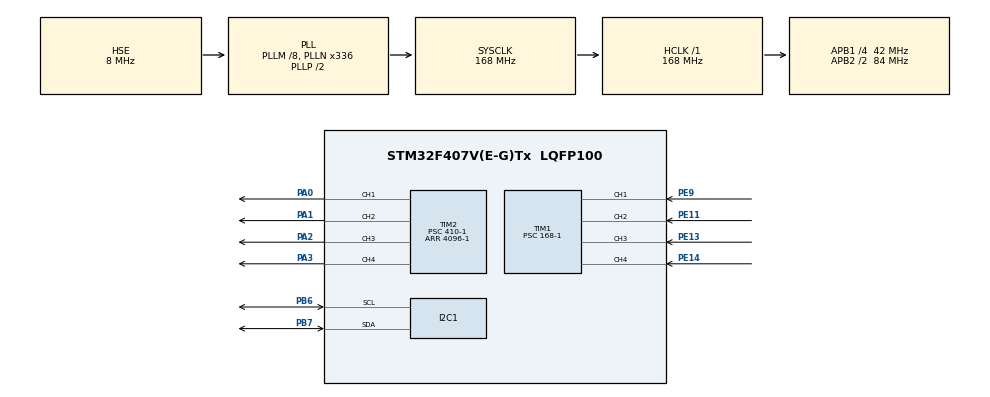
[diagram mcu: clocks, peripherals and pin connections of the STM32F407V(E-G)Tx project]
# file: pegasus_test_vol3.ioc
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I2C1.I2C_Mode=I2C_Fast
Mcu.Family=STM32F4
Mcu.Name=STM32F407V(E-G)Tx
Mcu.Package=LQFP100
NVIC.PriorityGroup=NVIC_PRIORITYGROUP_0
NVIC.TIM1_CC_IRQn=true\:0\:0\:false\:false\:true\:true\:true\:true
PA0-WKUP.Signal=S_TIM2_CH1_ETR
PA1.Signal=S_TIM2_CH2
PA13.Mode=Serial_Wire
PA13.Signal=SYS_JTMS-SWDIO
PA14.Mode=Serial_Wire
PA14.Signal=SYS_JTCK-SWCLK
PA2.Signal=S_TIM2_CH3
PA3.Signal=S_TIM2_CH4
PB6.Mode=I2C
PB6.Signal=I2C1_SCL
PB7.Mode=I2C
PB7.Signal=I2C1_SDA
PE11.Signal=S_TIM1_CH2
PE13.Signal=S_TIM1_CH3
PE14.Signal=S_TIM1_CH4
PE9.Signal=S_TIM1_CH1
PH0-OSC_IN.Mode=HSE-External-Oscillator
PH0-OSC_IN.Signal=RCC_OSC_IN
PH1-OSC_OUT.Mode=HSE-External-Oscillator
PH1-OSC_OUT.Signal=RCC_OSC_OUT
ProjectManager.HeapSize=0x200
ProjectManager.StackSize=0x400
ProjectManager.TargetToolchain=STM32CubeIDE
RCC.48MHZClocksFreq_Value=48000000
RCC.AHBFreq_Value=168000000
RCC.APB1CLKDivider=RCC_HCLK_DIV4
RCC.APB1Freq_Value=42000000
RCC.APB1TimFreq_Value=84000000
RCC.APB2CLKDivider=RCC_HCLK_DIV2
RCC.APB2Freq_Value=84000000
RCC.APB2TimFreq_Value=168000000
RCC.CortexFreq_Value=168000000
RCC.HCLKFreq_Value=168000000
RCC.HSE_VALUE=8000000
RCC.HSI_VALUE=16000000
RCC.PLLM=8
RCC.PLLN=336
RCC.PLLQ=7
RCC.PLLSourceVirtual=RCC_PLLSOURCE_HSE
RCC.SYSCLKFreq_VALUE=168000000
RCC.SYSCLKSource=RCC_SYSCLKSOURCE_PLLCLK
RCC.VCOOutputFreq_Value=336000000
SH.S_TIM1_CH1.0=TIM1_CH1,Input_Capture1_from_TI1
SH.S_TIM1_CH2.0=TIM1_CH2,Input_Capture2_from_TI2
SH.S_TIM1_CH3.0=TIM1_CH3,Input_Capture3_from_TI3
SH.S_TIM1_CH4.0=TIM1_CH4,Input_Capture4_from_TI4
SH.S_TIM2_CH1_ETR.0=TIM2_CH1,PWM Generation1 CH1
SH.S_TIM2_CH2.0=TIM2_CH2,PWM Generation2 CH2
SH.S_TIM2_CH3.0=TIM2_CH3,PWM Generation3 CH3
SH.S_TIM2_CH4.0=TIM2_CH4,PWM Generation4 CH4
TIM1.AutoReloadPreload=TIM_AUTORELOAD_PRELOAD_ENABLE
TIM1.Channel-Input_Capture1_from_TI1=TIM_CHANNEL_1
TIM1.Channel-Input_Capture2_from_TI2=TIM_CHANNEL_2
TIM1.Channel-Input_Capture3_from_TI3=TIM_CHANNEL_3
TIM1.Channel-Input_Capture4_from_TI4=TIM_CHANNEL_4
TIM1.Prescaler=168-1
TIM2.AutoReloadPreload=TIM_AUTORELOAD_PRELOAD_ENABLE
TIM2.Channel-PWM\ Generation1\ CH1=TIM_CHANNEL_1
TIM2.Channel-PWM\ Generation2\ CH2=TIM_CHANNEL_2
TIM2.Channel-PWM\ Generation3\ CH3=TIM_CHANNEL_3
TIM2.Channel-PWM\ Generation4\ CH4=TIM_CHANNEL_4
TIM2.Period=4096-1
TIM2.Prescaler=410-1
VP_TIM1_VS_ClockSourceINT.Mode=Internal
VP_TIM2_VS_ClockSourceINT.Mode=Internal
board=STM32F407G-DISC1

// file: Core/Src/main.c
#include "main.h"
#include <stdio.h>
#include <string.h>
#include <stdlib.h>
#include <math.h>
#include <stdbool.h>
/* USER CODE BEGIN Includes */
#define MPU6050_ADDR 0x68<<1
#define PWR_MGMT_1_REG 0x6B
#define SMPLRT_DIV_REG 0x19
#define GYRO_CNFG_REG 0x1B
#define ACC_CNFG_REG 0x1C
#define LPF_REG 0x1A
#define KP_roll 0.5
#define KI_roll 0.001
#define KD_roll 500
#define KP_pitch 0.5
#define KI_pitch 0.001
#define KD_pitch 500
#define KP_yaw 0.5
#define KI_yaw 0.001
#define KD_yaw 500
/* USER CODE END Includes */

I2C_HandleTypeDef hi2c1;

TIM_HandleTypeDef htim1;
TIM_HandleTypeDef htim2;

/* USER CODE BEGIN PV */
uint8_t data;
uint8_t buffer[2],tuffer[6],cuffer[6]; // ham gyro ve acc değerlerinin tutulduğu listeler
int16_t gyro_raw[3],acc_raw[3];        // anlamlandırılmış ham değerler
float gyro_cal[3],acc_cal[3]; // kalibrasyon offsetlerini tutan liste
int16_t acc_total_vector;
float angle_pitch_gyro, angle_roll_gyro, angle_yaw_gyro;
float angle_pitch_acc, angle_roll_acc, angle_yaw_acc, angle_pitch_acc_sum, angle_roll_acc_sum, angle_yaw_acc_sum, acc_total_vector_sum;
float angle_pitch,angle_roll, angle_yaw;
int16_t raw_temp;
float temp;
int i;
float prevtime,prevtime1,time1,elapsedtime1,prevtime2,time2,elapsedtime2;
HAL_StatusTypeDef set_gyro;
double roll_pid_d, roll_pid_i, roll_last_error, roll_control_signal;
double pitch_pid_d, pitch_pid_i, pitch_last_error, pitch_control_signal;
double yaw_pid_d, yaw_pid_i, yaw_last_error, yaw_control_signal;
int32_t throttle=0;
int32_t motpower1=0, motpower2=0, motpower3=0, motpower4=0;
/* USER CODE END PV */
int32_t prewYaw=0, prewRoll=0, prewPitch=0;
volatile uint32_t ch1_rising = 0, ch2_rising = 0, ch3_rising = 0, ch4_rising = 0;
volatile uint32_t ch1_falling = 0, ch2_falling = 0, ch3_falling = 0, ch4_falling = 0;
volatile uint32_t pre_ch1 = 0, ch1 = 0, pre_ch2 = 0, ch2 = 0, pre_ch3 = 0, ch3 = 0, pre_ch4 = 0, ch4 = 0;
void SystemClock_Config(void);
static void MX_GPIO_Init(void);
static void MX_I2C1_Init(void);
static void MX_TIM1_Init(void);
static void MX_TIM2_Init(void);
void calculateMotorPowers(double PrRoll, double PrPitch, double PrYaw);
double getControlSignal(double error, double kp, double ki, double kd, double pid_d, double pid_i, double last_error, float delta_time);
void calibrationofmot();
void HAL_TIM_IC_CaptureCallback(TIM_HandleTypeDef *htim)
{
	if(htim->Instance == TIM1)  // interrupt TIM1 biriminden geliyorsa gir
	{
		switch(htim->Channel) // aktif kanal hamgisiyse, o kanalın case'ine git
		{
		case HAL_TIM_ACTIVE_CHANNEL_1:
			if((TIM1->CCER & TIM_CCER_CC1P)==0) // kanalin aktif olmasi kesmenin oradan gelecegi anlamina gelmez/gpio pinini kontrol et
			{
				ch1_rising = TIM1->CCR1; // yukselen kenar degerini kaydet
				TIM1->CCER |= TIM_CCER_CC1P; // polariteyi düsen kenar olarak degistir
			}

			else
			{
				ch1_falling = TIM1->CCR1;
				pre_ch1 = ch1_falling - ch1_rising; // dusen kenar degerini kaydet ve yukselen kenar degerinden cikar
				if(pre_ch1 < 0)pre_ch1 += 0xFFFF;// eger sonuc negatifse taban tumleme yap
				if(pre_ch1 < 2010 && pre_ch1 > 990)ch1=pre_ch1;
				TIM1->CCER &= ~TIM_CCER_CC1P; // polariteyi yukselen kenar olarak ayarla

				/*
				 * ch1_rising 65000
				 * ch1 falling 570
				 * pre_ch1 = pre_ch1 falling - pre_ch1_rising = 570 - 65000 = -64430
				 * pre_ch1 +=0xFFFF(65536) --> 1106
				 */
			}
			break;
		case HAL_TIM_ACTIVE_CHANNEL_2:
			if((TIM1->CCER & TIM_CCER_CC2P)==0)
			{
				ch2_rising = TIM1->CCR2;
				TIM1->CCER |= TIM_CCER_CC2P;
			}
			else
			{
				ch2_falling = TIM1->CCR2;
				pre_ch2 = ch2_falling - ch2_rising;
				if(pre_ch2 < 0)pre_ch2 += 0xFFFF;
				if(pre_ch2 < 2010 && pre_ch2 > 990)ch2=pre_ch2;
				TIM1->CCER &= ~TIM_CCER_CC2P;
			}
			break;
		case HAL_TIM_ACTIVE_CHANNEL_3:
			if((TIM1->CCER & TIM_CCER_CC3P)==0)
			{
				ch3_rising = TIM1->CCR3;
				TIM1->CCER |= TIM_CCER_CC3P;
			}
			else
			{
				ch3_falling = TIM1->CCR3;
				pre_ch3 = ch3_falling - ch3_rising;
				if(pre_ch3 < 0)pre_ch3 += 0xFFFF;
				if(pre_ch3 < 2010 && pre_ch3 > 990)ch3=pre_ch3;
				TIM1->CCER &= ~TIM_CCER_CC3P;
			}
			break;
		case HAL_TIM_ACTIVE_CHANNEL_4:
			if((TIM1->CCER & TIM_CCER_CC4P)==0)
			{
				ch4_rising = TIM1->CCR4;
				TIM1->CCER |= TIM_CCER_CC4P;
			}
			else
			{
				ch4_falling = TIM1->CCR4;
				pre_ch4 = ch4_falling - ch4_rising;
				if(pre_ch4 < 0)pre_ch4 += 0xFFFF;
				if(pre_ch4 < 2010 && pre_ch4 > 990)ch4=pre_ch4;
				TIM1->CCER &= ~TIM_CCER_CC4P;
			}
			break;
		default:
			break;
		}
	}
}

int main(void)
{

  /* MCU Configuration--------------------------------------------------------*/

  /* Reset of all peripherals, Initializes the Flash interface and the Systick. */
  HAL_Init();

  /* Configure the system clock */
  SystemClock_Config();

  /* Initialize all configured peripherals */
  MX_GPIO_Init();
  MX_I2C1_Init();
  MX_TIM1_Init();
  MX_TIM2_Init();
  HAL_TIM_IC_Start_IT(&htim1, TIM_CHANNEL_1); // TIMX->DIER, CCXIE bitini aktif eder.
  HAL_TIM_IC_Start_IT(&htim1, TIM_CHANNEL_2);
  HAL_TIM_IC_Start_IT(&htim1, TIM_CHANNEL_3);
  HAL_TIM_IC_Start_IT(&htim1, TIM_CHANNEL_4);
  HAL_TIM_PWM_Start(&htim2, TIM_CHANNEL_1);
  HAL_TIM_PWM_Start(&htim2, TIM_CHANNEL_2);
  HAL_TIM_PWM_Start(&htim2, TIM_CHANNEL_3);
  HAL_TIM_PWM_Start(&htim2, TIM_CHANNEL_4);

  /* USER CODE BEGIN 2 */
  data = 0x00;
    HAL_I2C_Mem_Write (&hi2c1, MPU6050_ADDR, PWR_MGMT_1_REG, 1, &data, 1, HAL_MAX_DELAY);
    //kullanılan birimin pointer olarak döndürülmesi, cihaz slave adresi, register adresi, register boyutu, verinin pointer
    //olarak döndürülmesi, verinin boyutu , zaman aşımıı değeri
    // GYRO CNFG --> +-500 derece/saniye --> 08
    data = 0x08;
    HAL_I2C_Mem_Write (&hi2c1, MPU6050_ADDR, GYRO_CNFG_REG, 1, &data, 1, HAL_MAX_DELAY);
    // ACC CNFG --> +-8g --> 10
    data = 0x10;
    HAL_I2C_Mem_Write (&hi2c1, MPU6050_ADDR, ACC_CNFG_REG, 1, &data, 1, HAL_MAX_DELAY);
    data = 0x03;
    HAL_I2C_Mem_Write (&hi2c1, MPU6050_ADDR, LPF_REG, 1, &data, 1, HAL_MAX_DELAY);

    for(i=0; i<2000; i++)
    {
  	  prevtime2 = time2;
  	  time2 = HAL_GetTick();
  	  elapsedtime2=(time2-prevtime2)*1000;

  	  cuffer[0]=0x43;
  	  HAL_I2C_Master_Transmit(&hi2c1,MPU6050_ADDR,cuffer,1,HAL_MAX_DELAY);
  	  HAL_I2C_Master_Receive(&hi2c1,MPU6050_ADDR,cuffer,6,HAL_MAX_DELAY);

  	  gyro_raw[0] = (cuffer[0] << 8 | cuffer[1]);
  	  gyro_raw[1] = (cuffer[2] << 8 | cuffer[3]);
  	  gyro_raw[2] = (cuffer[4] << 8 | cuffer[5]);

  	  gyro_cal[0] += gyro_raw[0];
  	  gyro_cal[1] += gyro_raw[1];
  	  gyro_cal[2] += gyro_raw[2];

  	  HAL_Delay(3);

    }

    gyro_cal[0] /= 2000;
    gyro_cal[1] /= 2000;
    gyro_cal[2] /= 2000;

    HAL_Delay(500);
  /* USER CODE END 2 */
    calibrationofmot();
  /* Infinite loop */
  while (1)
  {
	  int32_t rec[]= {ch1,ch2,ch4};
	  prevtime1 = time1;
	  time1 = HAL_GetTick();
	  elapsedtime1=(time1-prevtime1)*1000;

	  tuffer[0]=0x3B;
	  HAL_I2C_Master_Transmit(&hi2c1,MPU6050_ADDR,tuffer,1,HAL_MAX_DELAY);
	  HAL_I2C_Master_Receive(&hi2c1,MPU6050_ADDR,tuffer,6,HAL_MAX_DELAY);

	  // Acc Raw Values
	  acc_raw[0] = (tuffer[0] << 8 | tuffer[1]);
	  acc_raw[1] = (tuffer[2] << 8 | tuffer[3]);
	  acc_raw[2] = (tuffer[4] << 8 | tuffer[5]);

	  buffer[0]=0x41;
	  HAL_I2C_Master_Transmit(&hi2c1,MPU6050_ADDR,buffer,1,HAL_MAX_DELAY);
	  HAL_I2C_Master_Receive(&hi2c1,MPU6050_ADDR,buffer,2,HAL_MAX_DELAY);

	  // Temperature Values
	  raw_temp = (buffer[0] << 8 | buffer[1]);
	  temp = (raw_temp / 340.0) + 36.53;

	  cuffer[0]=0x43;
	  HAL_I2C_Master_Transmit(&hi2c1,MPU6050_ADDR,cuffer,1,HAL_MAX_DELAY);
	  HAL_I2C_Master_Receive(&hi2c1,MPU6050_ADDR,cuffer,6,HAL_MAX_DELAY);

	  // Gyro Raw Values
	  gyro_raw[0] = (cuffer[0] << 8 | cuffer[1]);
	  gyro_raw[1] = (cuffer[2] << 8 | cuffer[3]);
	  gyro_raw[2] = (cuffer[4] << 8 | cuffer[5]);

	  gyro_raw[0] -= gyro_cal[0];
	  gyro_raw[1] -= gyro_cal[1];
	  gyro_raw[2] -= gyro_cal[2];

	  angle_pitch_gyro += gyro_raw[0] * 0.0000611;
	  angle_roll_gyro += gyro_raw[1] * 0.0000611;
	  angle_yaw_gyro += gyro_raw[2] * 0.0000611;

	  angle_pitch_gyro += angle_roll_gyro * sin(gyro_raw[2] * 0.000001066);
	  angle_roll_gyro -= angle_pitch_gyro * sin(gyro_raw[2] * 0.000001066);
	  angle_yaw_gyro -= angle_yaw_gyro * sin(gyro_raw[1] * 0.000001066);

	  acc_total_vector = sqrt((acc_raw[0]*acc_raw[0])+(acc_raw[1]*acc_raw[1])+(acc_raw[2]*acc_raw[2]));

	  //57.296 = 1 / (3.142 / 180)
	  angle_pitch_acc = asin((float)acc_raw[1]/acc_total_vector)* 57.296;
	  angle_roll_acc = asin((float)acc_raw[0]/acc_total_vector)* -57.296;
	  angle_yaw_acc = asin((float)acc_raw[2]/acc_total_vector)* 57.296;

	  angle_pitch_acc -= 1;//0.05;
	  angle_roll_acc -= -1.32;//-1.32;
	  angle_yaw_acc -= 0;
	  if(set_gyro){
		  angle_pitch = angle_pitch_gyro * 0.9996 + angle_pitch_acc * 0.0004;
		  angle_roll = angle_roll_gyro * 0.9996 + angle_roll_acc * 0.0004;
		  angle_yaw = angle_yaw_gyro * 0.9996 + angle_yaw_acc * 0.0004;
	  }
	  else
	  {
		  angle_pitch = angle_pitch_acc;
		  set_gyro = true;
	  }

	  while((HAL_GetTick() - prevtime)*1000 < 4000);
	  prevtime = HAL_GetTick();
	  throttle = (ch3/4.60);
	  for(int i=0; i<3; i++) {
		  rec[i]= (rec[i]/12.5)-116.8;
		  if(i==1)
			  rec[i]-=4;
	  }
	  prewRoll=-1*rec[0]; prewPitch= -1*rec[1]; prewYaw= rec[2];
	  if(throttle>420)
		  throttle=420;
	  calculateMotorPowers(prewRoll,prewPitch,prewYaw);

	  TIM2->CCR1 = motpower1;
	  TIM2->CCR2 = motpower2;
	  TIM2->CCR3 = motpower3;
	  TIM2->CCR4 = motpower4;

    /*	 USER CODE BEGIN 3 */
  }
  /* USER CODE END 3 */
}

void SystemClock_Config(void)
{
  RCC_OscInitTypeDef RCC_OscInitStruct = {0};
  RCC_ClkInitTypeDef RCC_ClkInitStruct = {0};

  /** Configure the main internal regulator output voltage
  */
  __HAL_RCC_PWR_CLK_ENABLE();
  __HAL_PWR_VOLTAGESCALING_CONFIG(PWR_REGULATOR_VOLTAGE_SCALE1);

  /** Initializes the RCC Oscillators according to the specified parameters
  * in the RCC_OscInitTypeDef structure.
  */
  RCC_OscInitStruct.OscillatorType = RCC_OSCILLATORTYPE_HSE;
  RCC_OscInitStruct.HSEState = RCC_HSE_ON;
  RCC_OscInitStruct.PLL.PLLState = RCC_PLL_ON;
  RCC_OscInitStruct.PLL.PLLSource = RCC_PLLSOURCE_HSE;
  RCC_OscInitStruct.PLL.PLLM = 8;
  RCC_OscInitStruct.PLL.PLLN = 336;
  RCC_OscInitStruct.PLL.PLLP = RCC_PLLP_DIV2;
  RCC_OscInitStruct.PLL.PLLQ = 7;
  if (HAL_RCC_OscConfig(&RCC_OscInitStruct) != HAL_OK)
  {
    Error_Handler();
  }

  /** Initializes the CPU, AHB and APB buses clocks
  */
  RCC_ClkInitStruct.ClockType = RCC_CLOCKTYPE_HCLK|RCC_CLOCKTYPE_SYSCLK
                              |RCC_CLOCKTYPE_PCLK1|RCC_CLOCKTYPE_PCLK2;
  RCC_ClkInitStruct.SYSCLKSource = RCC_SYSCLKSOURCE_PLLCLK;
  RCC_ClkInitStruct.AHBCLKDivider = RCC_SYSCLK_DIV1;
  RCC_ClkInitStruct.APB1CLKDivider = RCC_HCLK_DIV4;
  RCC_ClkInitStruct.APB2CLKDivider = RCC_HCLK_DIV2;

  if (HAL_RCC_ClockConfig(&RCC_ClkInitStruct, FLASH_LATENCY_5) != HAL_OK)
  {
    Error_Handler();
  }
}

static void MX_I2C1_Init(void)
{

  hi2c1.Instance = I2C1;
  hi2c1.Init.ClockSpeed = 400000;
  hi2c1.Init.DutyCycle = I2C_DUTYCYCLE_2;
  hi2c1.Init.OwnAddress1 = 0;
  hi2c1.Init.AddressingMode = I2C_ADDRESSINGMODE_7BIT;
  hi2c1.Init.DualAddressMode = I2C_DUALADDRESS_DISABLE;
  hi2c1.Init.OwnAddress2 = 0;
  hi2c1.Init.GeneralCallMode = I2C_GENERALCALL_DISABLE;
  hi2c1.Init.NoStretchMode = I2C_NOSTRETCH_DISABLE;
  if (HAL_I2C_Init(&hi2c1) != HAL_OK)
  {
    Error_Handler();
  }

}

static void MX_TIM1_Init(void)
{

  TIM_ClockConfigTypeDef sClockSourceConfig = {0};
  TIM_MasterConfigTypeDef sMasterConfig = {0};
  TIM_IC_InitTypeDef sConfigIC = {0};

  htim1.Instance = TIM1;
  htim1.Init.Prescaler = 168-1;
  htim1.Init.CounterMode = TIM_COUNTERMODE_UP;
  htim1.Init.Period = 65535;
  htim1.Init.ClockDivision = TIM_CLOCKDIVISION_DIV1;
  htim1.Init.RepetitionCounter = 0;
  htim1.Init.AutoReloadPreload = TIM_AUTORELOAD_PRELOAD_ENABLE;
  if (HAL_TIM_Base_Init(&htim1) != HAL_OK)
  {
    Error_Handler();
  }
  sClockSourceConfig.ClockSource = TIM_CLOCKSOURCE_INTERNAL;
  if (HAL_TIM_ConfigClockSource(&htim1, &sClockSourceConfig) != HAL_OK)
  {
    Error_Handler();
  }
  if (HAL_TIM_IC_Init(&htim1) != HAL_OK)
  {
    Error_Handler();
  }
  sMasterConfig.MasterOutputTrigger = TIM_TRGO_RESET;
  sMasterConfig.MasterSlaveMode = TIM_MASTERSLAVEMODE_DISABLE;
  if (HAL_TIMEx_MasterConfigSynchronization(&htim1, &sMasterConfig) != HAL_OK)
  {
    Error_Handler();
  }
  sConfigIC.ICPolarity = TIM_INPUTCHANNELPOLARITY_RISING;
  sConfigIC.ICSelection = TIM_ICSELECTION_DIRECTTI;
  sConfigIC.ICPrescaler = TIM_ICPSC_DIV1;
  sConfigIC.ICFilter = 0;
  if (HAL_TIM_IC_ConfigChannel(&htim1, &sConfigIC, TIM_CHANNEL_1) != HAL_OK)
  {
    Error_Handler();
  }
  if (HAL_TIM_IC_ConfigChannel(&htim1, &sConfigIC, TIM_CHANNEL_2) != HAL_OK)
  {
    Error_Handler();
  }
  if (HAL_TIM_IC_ConfigChannel(&htim1, &sConfigIC, TIM_CHANNEL_3) != HAL_OK)
  {
    Error_Handler();
  }
  if (HAL_TIM_IC_ConfigChannel(&htim1, &sConfigIC, TIM_CHANNEL_4) != HAL_OK)
  {
    Error_Handler();
  }

}

static void MX_TIM2_Init(void)
{

  TIM_ClockConfigTypeDef sClockSourceConfig = {0};
  TIM_MasterConfigTypeDef sMasterConfig = {0};
  TIM_OC_InitTypeDef sConfigOC = {0};

  htim2.Instance = TIM2;
  htim2.Init.Prescaler = 410-1;
  htim2.Init.CounterMode = TIM_COUNTERMODE_UP;
  htim2.Init.Period = 4096-1;
  htim2.Init.ClockDivision = TIM_CLOCKDIVISION_DIV1;
  htim2.Init.AutoReloadPreload = TIM_AUTORELOAD_PRELOAD_ENABLE;
  if (HAL_TIM_Base_Init(&htim2) != HAL_OK)
  {
    Error_Handler();
  }
  sClockSourceConfig.ClockSource = TIM_CLOCKSOURCE_INTERNAL;
  if (HAL_TIM_ConfigClockSource(&htim2, &sClockSourceConfig) != HAL_OK)
  {
    Error_Handler();
  }
  if (HAL_TIM_PWM_Init(&htim2) != HAL_OK)
  {
    Error_Handler();
  }
  sMasterConfig.MasterOutputTrigger = TIM_TRGO_RESET;
  sMasterConfig.MasterSlaveMode = TIM_MASTERSLAVEMODE_DISABLE;
  if (HAL_TIMEx_MasterConfigSynchronization(&htim2, &sMasterConfig) != HAL_OK)
  {
    Error_Handler();
  }
  sConfigOC.OCMode = TIM_OCMODE_PWM1;
  sConfigOC.Pulse = 0;
  sConfigOC.OCPolarity = TIM_OCPOLARITY_HIGH;
  sConfigOC.OCFastMode = TIM_OCFAST_DISABLE;
  if (HAL_TIM_PWM_ConfigChannel(&htim2, &sConfigOC, TIM_CHANNEL_1) != HAL_OK)
  {
    Error_Handler();
  }
  if (HAL_TIM_PWM_ConfigChannel(&htim2, &sConfigOC, TIM_CHANNEL_2) != HAL_OK)
  {
    Error_Handler();
  }
  if (HAL_TIM_PWM_ConfigChannel(&htim2, &sConfigOC, TIM_CHANNEL_3) != HAL_OK)
  {
    Error_Handler();
  }
  if (HAL_TIM_PWM_ConfigChannel(&htim2, &sConfigOC, TIM_CHANNEL_4) != HAL_OK)
  {
    Error_Handler();
  }
  HAL_TIM_MspPostInit(&htim2);

}

static void MX_GPIO_Init(void)
{

  /* GPIO Ports Clock Enable */
  __HAL_RCC_GPIOH_CLK_ENABLE();
  __HAL_RCC_GPIOA_CLK_ENABLE();
  __HAL_RCC_GPIOE_CLK_ENABLE();
  __HAL_RCC_GPIOB_CLK_ENABLE();

}

void calibrationofmot() {
	 TIM2->CCR1 = 420;
	 TIM2->CCR2 = 420;
	 TIM2->CCR3 = 420;
	 TIM2->CCR4 = 420;
	 HAL_Delay(3000);

	 TIM2->CCR1 = 220;
	 TIM2->CCR2 = 220;
	 TIM2->CCR3 = 220;
	 TIM2->CCR4 = 220;
	 HAL_Delay(3000);

}
void calculateMotorPowers(double PrRoll, double PrPitch, double PrYaw) {
  double rollError = PrRoll - angle_roll;

  double yawError = PrYaw - angle_yaw;

  double pitchError = PrPitch - angle_pitch;

  pitch_control_signal =  getControlSignal(pitchError, KP_pitch, KI_pitch, KD_pitch, pitch_pid_d, pitch_pid_i, pitch_last_error, elapsedtime1);
  pitch_last_error= pitchError;
  yaw_control_signal =  getControlSignal(yawError, KP_yaw, KI_yaw, KD_yaw, yaw_pid_d, yaw_pid_i, yaw_last_error, elapsedtime1);
  yaw_last_error= yawError;
  roll_control_signal = getControlSignal(rollError, KP_roll, KI_roll, KD_roll, roll_pid_d, roll_pid_i, roll_last_error, elapsedtime1);
  roll_last_error= rollError;
  motpower1 = throttle + (int32_t)(-1*roll_control_signal - yaw_control_signal + pitch_control_signal);
  if(motpower1<229) motpower1=229;
  if(motpower1>420) motpower1=420;
  motpower2 = throttle + (int32_t)(roll_control_signal + yaw_control_signal + pitch_control_signal);
  if(motpower2<210) motpower2=210;
  if(motpower2>409) motpower2=409;
  motpower3 = throttle + (int32_t)(roll_control_signal - yaw_control_signal - pitch_control_signal);
  if(motpower3<220) motpower3=220;
  if(motpower3>420) motpower3=420;
  motpower4 = throttle + (int32_t)(-1*roll_control_signal + yaw_control_signal - pitch_control_signal);
  if(motpower4<220) motpower4=220;
  if(motpower4>420) motpower4=420;
}

double getControlSignal(double error, double kp, double ki, double kd, double pid_d, double pid_i, double last_error, float delta_time) {
  double pid_p = error;
  pid_d = (error - last_error) / delta_time;
  pid_i += error * delta_time;
  if(error<2 && error>-2)
	  pid_i=0;
  double control_signal = (kp*pid_p) + (ki*pid_i) + (kd*pid_d);
  //last_error = error;  not:bu ifadeyi fonksiyondan hemen sonra yazacağız.
  return control_signal;
}
void Error_Handler(void)
{
  __disable_irq();
  while (1)
  {
  }
}
